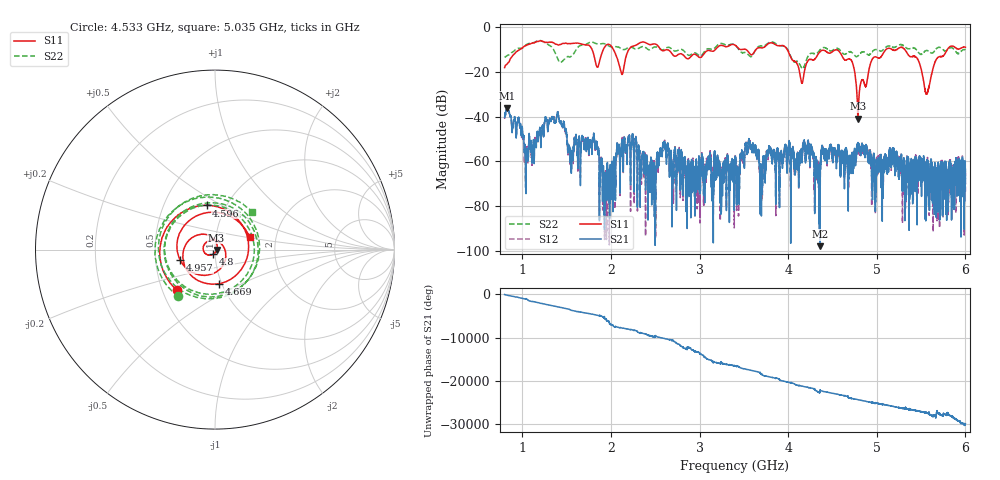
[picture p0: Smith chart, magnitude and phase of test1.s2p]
!Keysight Technologies N9923A: A.08.15
!Date: Friday, 16 February 2024 22:55:21
!Timezone: (GMT-05:00) Eastern Time (US & Canada)
!Model: N9923A
!Serial: MY52412730
!GPS Latitude:
!GPS Longitude:
!GPS TimeStamp: 0001-01-01 00:00:00Z
!GPS Seconds Since Last Read: 0
!CHECKSUM:1757083541
!Correction: S11(ON Q)S21(ON Q)S12(ON Q)S22(ON Q)
!S2P File: Measurements:S11,S21,S12,S22:
# Hz S DB R 50
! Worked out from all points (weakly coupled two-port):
!   10001 points, 800 MHz to 6 GHz, reference 50 ohm
!   highest |S21| = -36.14 dB at 831.2 MHz (marker M1); lowest = -97.9 dB at 4.359 GHz (marker M2)
!   lowest |S11| = -40.9 dB at 4.787 GHz (marker M3), VSWR 1.02, Z = 50.9 - j0.231 ohm
!   |S11| at or under -10 dB: 2.563 GHz to 3.179 GHz (615.6 MHz wide, 21.4 % of centre); 3.989 GHz to 5.104 GHz (1.115 GHz wide, 24.5 % of centre); 5.316 GHz to 5.797 GHz (481.1 MHz wide, 8.66 % of centre) (the widest 3 of 13)
!   |S22| runs from -18.7 to -6.0 dB; largest |S21 - S12| = 0.0011
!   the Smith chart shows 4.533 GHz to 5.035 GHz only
!   S11 on the Smith chart (normalised r, x): 4.533 GHz: 0.60, -0.30; 4.596 GHz: 0.81, +0.42; 4.669 GHz: 0.97, -0.38; 4.8 GHz: 0.98, -0.05; 4.957 GHz: 0.67, -0.08; 5.035 GHz: 1.46, +0.21
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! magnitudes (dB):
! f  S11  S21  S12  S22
! 800 MHz  -18.1  -40.2  -40.5  -13.5
! 831.2 MHz  -16.3  -36.1  -36.3  -12.7
! 1.044 GHz  -8.1  -57.1  -57.7  -7.8
! 1.392 GHz  -7.7  -39.4  -39.1  -13.5
! 1.667 GHz  -7.5  -50.5  -50.3  -8.1
! 1.819 GHz  -14.4  -53.6  -54.3  -7.2
! 1.93 GHz  -8.8  -82.0  -75.4  -7.5
! 2.135 GHz  -20.3  -56.0  -56.8  -10.0
! 2.534 GHz  -8.5  -62.0  -61.6  -9.3
! 3.4 GHz  -8.0  -59.3  -58.7  -8.0
! 4.267 GHz  -14.5  -54.2  -54.2  -11.7
! 4.359 GHz  -11.0  -97.9  -70.3  -10.2
! 4.533 GHz  -10.2  -55.3  -54.9  -9.6
! 4.596 GHz  -12.0  -61.4  -60.8  -10.7
! 4.669 GHz  -14.4  -60.7  -62.0  -11.4
! 4.787 GHz  -40.9  -51.5  -53.4  -12.9
! 4.8 GHz  -30.9  -54.7  -54.0  -12.4
! 4.957 GHz  -13.9  -62.0  -58.6  -10.7
! 5.035 GHz  -13.7  -60.6  -57.2  -10.6
! 5.134 GHz  -9.4  -59.1  -60.0  -8.4
! 5.564 GHz  -29.8  -60.2  -64.8  -10.4
! 6 GHz  -9.0  -70.0  -73.5  -10.1
